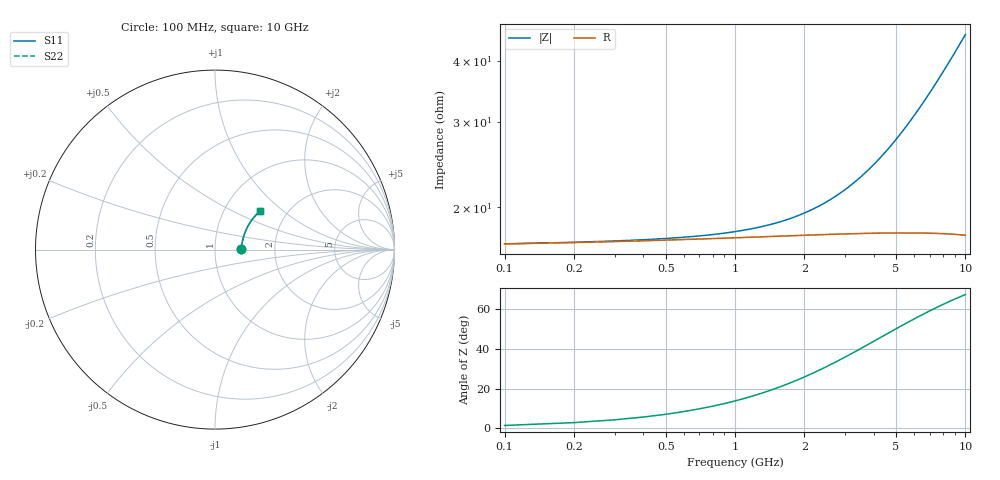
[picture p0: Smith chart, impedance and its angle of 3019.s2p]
# Hz S RI R 50.00
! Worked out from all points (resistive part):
!   100 points, 100 MHz to 10 GHz, reference 50 ohm
!   read as one part in series: R = 16.8 ohm at 100 MHz
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1e8  0.144 0.00253  0.856 -0.00366  0.856 -0.00366  0.144 0.00253
2e8  0.1448 0.00505  0.8551 -0.00731  0.8551 -0.00731  0.1448 0.00505
4e8  0.146 0.0101  0.854 -0.0146  0.854 -0.0146  0.146 0.0101
8e8  0.1479 0.02  0.8521 -0.0291  0.8521 -0.0291  0.1479 0.02
1.1e9  0.1492 0.0275  0.8507 -0.0399  0.8507 -0.0399  0.1492 0.0275
1.4e9  0.1505 0.0349  0.8493 -0.0507  0.8493 -0.0507  0.1505 0.0349
1.8e9  0.1525 0.0447  0.8472 -0.065  0.8472 -0.065  0.1525 0.0447
2.1e9  0.1541 0.052  0.8455 -0.0757  0.8455 -0.0757  0.1541 0.052
2.5e9  0.1565 0.0616  0.843 -0.0899  0.843 -0.0899  0.1565 0.0616
2.9e9  0.1592 0.0712  0.8402 -0.1039  0.8402 -0.1039  0.1592 0.0712
3.4e9  0.1629 0.0829  0.8363 -0.1214  0.8363 -0.1214  0.1629 0.0829
4.2e9  0.1697 0.1013  0.829 -0.1488  0.829 -0.1488  0.1697 0.1013
5.1e9  0.1787 0.1213  0.8195 -0.179  0.8195 -0.179  0.1787 0.1213
5.9e9  0.1878 0.1384  0.8097 -0.2051  0.8097 -0.2051  0.1878 0.1384
6.7e9  0.198 0.1546  0.7989 -0.2305  0.7989 -0.2305  0.198 0.1546
7.2e9  0.2048 0.1644  0.7916 -0.2459  0.7916 -0.2459  0.2048 0.1644
7.6e9  0.2105 0.1719  0.7855 -0.258  0.7855 -0.258  0.2105 0.1719
8e9  0.2164 0.1793  0.7792 -0.2699  0.7792 -0.2699  0.2164 0.1793
8.4e9  0.2225 0.1864  0.7726 -0.2815  0.7726 -0.2815  0.2225 0.1864
8.8e9  0.2288 0.1932  0.7659 -0.293  0.7659 -0.293  0.2288 0.1932
9.2e9  0.2352 0.1998  0.7589 -0.3042  0.7589 -0.3042  0.2352 0.1998
1e10  0.2487 0.2123  0.7444 -0.3258  0.7444 -0.3258  0.2487 0.2123
